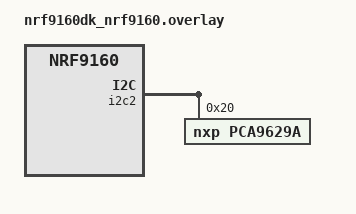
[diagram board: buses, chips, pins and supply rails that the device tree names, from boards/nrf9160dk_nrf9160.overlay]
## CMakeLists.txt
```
#
#  Copyright (c) 2021 arithmetics ITS
#
#  SPDX-License-Identifier: Apache-2.0

cmake_minimum_required(VERSION 3.13.1)
find_package(Zephyr HINTS $ENV{ZEPHYR_BASE})
project(pca9629a)

FILE(GLOB app_sources src/*.c)
target_sources(app PRIVATE ${app_sources})
```

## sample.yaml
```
sample:
  name: pca9629a sample
  description: PCA9629A sample application
tests:
  sample.drivers.motor.pca9629a:
    tags: Motor
    platform_whitelist: nrf9160dk_nrf9160
```

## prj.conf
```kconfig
CONFIG_STDOUT_CONSOLE=y
CONFIG_LOG=y
CONFIG_I2C=y
CONFIG_MOTOR=y
CONFIG_MOTOR_LOG_LEVEL_DBG=y
CONFIG_NEWLIB_LIBC=y
CONFIG_NEWLIB_LIBC_FLOAT_PRINTF=y

CONFIG_MOTOR_PCA9629A=y
```

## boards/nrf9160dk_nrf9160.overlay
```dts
/*
 * Copyright (c) 2021 arithmetics ITS
 *
 * SPDX-License-Identifier: Apache-2.0
 */

&i2c2 {
	pca9629a@20 {
		compatible = "nxp,pca9629a";
		reg = <0x20>;
		label = "PCA9629A";
		phase = "two-phase";
		cw-output-state = "all-off";
		ccw-output-state = "all-off";
	};
};
```

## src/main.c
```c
/*
 * Copyright (c) 2021 arithmetics ITS
 *
 * SPDX-License-Identifier: Apache-2.0
 */

#include <zephyr.h>
#include <device.h>
#include <drivers/motor.h>

void main(void)
{
	const struct device *dev = device_get_binding(DT_LABEL(DT_INST(0, nxp_pca9629a)));

	if (dev == NULL) {
		printk("Could not get %s device\n", DT_LABEL(DT_INST(0, nxp_pca9629a)));
		return;
	}

	motor_control(dev, MOTOR_STOP);

	motor_set_direction(dev, MOTOR_CW);

	motor_set_speed(dev, MOTOR_CW, 1538);
	motor_set_speed(dev, MOTOR_CCW, 1538);

	motor_attr_set(dev, MOTOR_ATTR_CW_STEPS, 500);
	motor_attr_set(dev, MOTOR_ATTR_CCW_STEPS, 500);
	motor_attr_set(dev, MOTOR_ATTR_RAMP_DOWN, 0);
	motor_attr_set(dev, MOTOR_ATTR_RAMP_UP, 0);
	motor_attr_set(dev, MOTOR_ATTR_ROTATION_MODE, 1);

	motor_control(dev, MOTOR_START);

	while (1) {
		k_sleep(K_MSEC(1000));
	}
}
```
